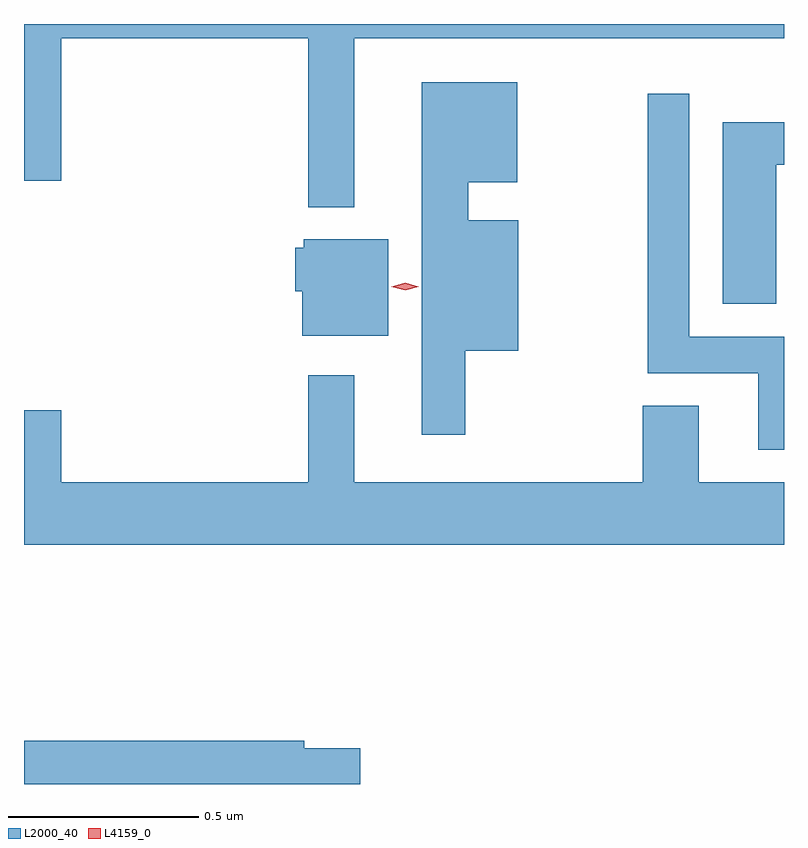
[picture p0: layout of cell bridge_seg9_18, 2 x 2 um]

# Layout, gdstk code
import gdstk
lib = gdstk.Library(unit=1e-6, precision=1e-09)
def P(c, l, *ps):  # polygons
    for p in ps: c.add(gdstk.Polygon(p, *l))
L2000_40 = (2000, 40)
L4159_0 = (4159, 0)

bridge_seg9_18 = lib.new_cell('bridge_seg9_18')
P(bridge_seg9_18, L2000_40, [(921.187,1236.38),(922.318,1236.38),(922.318,1236.418),(920.318,1236.418),(920.318,1236.006),(920.416,1236.006),(920.416,1236.38),(921.066,1236.38),(921.066,1235.936),(921.187,1235.936)],
  [(921.479,1235.558),(921.619,1235.558),(921.619,1235.902),(921.487,1235.902),(921.487,1236.002),(921.616,1236.002),(921.616,1236.265),(921.365,1236.265),(921.365,1235.337),(921.479,1235.337)],
  [(922.318,1235.595),(922.068,1235.595),(922.068,1236.235),(921.96,1236.235),(921.96,1235.499),(922.25,1235.499),(922.25,1235.298),(922.318,1235.298)],
  [(922.297,1236.048),(922.318,1236.048),(922.318,1236.159),(922.157,1236.159),(922.157,1235.682),(922.297,1235.682)],
  [(921.277,1235.851),(921.054,1235.851),(921.054,1235.829),(921.032,1235.829),(921.032,1235.715),(921.05,1235.715),(921.05,1235.597),(921.277,1235.597)],
  [(922.318,1235.212),(922.093,1235.212),(922.093,1235.414),(921.946,1235.414),(921.946,1235.212),(921.187,1235.212),(921.187,1235.494),(921.066,1235.494),(921.066,1235.212),(920.416,1235.212),(920.416,1235.401),(920.318,1235.401),(920.318,1235.048),(922.318,1235.048)],
  [(921.203,1234.512),(921.056,1234.512),(921.056,1234.532),(920.318,1234.532),(920.318,1234.418),(921.203,1234.418)])
P(bridge_seg9_18, L4159_0, [(921.321,1235.717),(921.284,1235.727),(921.284,1235.727),(921.284,1235.727),(921.321,1235.737),(921.357,1235.727),(921.357,1235.727),(921.357,1235.727)])

lib.write_gds('bridge_seg9_18.gds')
